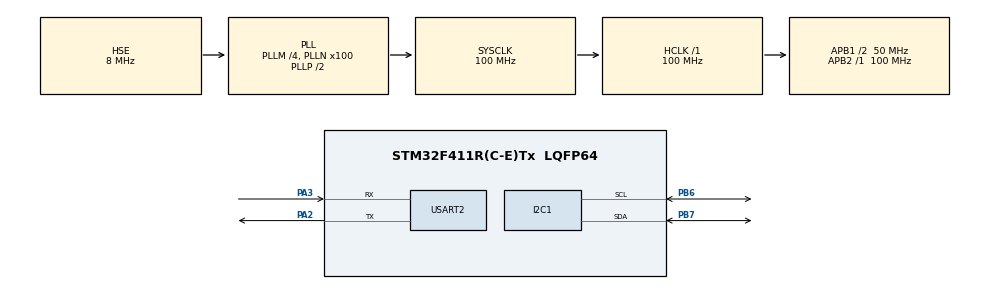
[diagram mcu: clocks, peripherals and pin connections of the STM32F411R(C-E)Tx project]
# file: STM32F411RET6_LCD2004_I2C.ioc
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Mcu.Family=STM32F4
Mcu.Name=STM32F411R(C-E)Tx
Mcu.Package=LQFP64
NVIC.I2C1_ER_IRQn=true\:0\:0\:false\:false\:true\:true\:true\:true
NVIC.I2C1_EV_IRQn=true\:0\:0\:false\:false\:true\:true\:true\:true
NVIC.PriorityGroup=NVIC_PRIORITYGROUP_4
NVIC.USART2_IRQn=true\:0\:0\:false\:false\:true\:true\:true\:true
PA2.Mode=Asynchronous
PA2.Signal=USART2_TX
PA3.Mode=Asynchronous
PA3.Signal=USART2_RX
PB6.Mode=I2C
PB6.Signal=I2C1_SCL
PB7.Mode=I2C
PB7.Signal=I2C1_SDA
PH0\ -\ OSC_IN.Mode=HSE-External-Oscillator
PH0\ -\ OSC_IN.Signal=RCC_OSC_IN
PH1\ -\ OSC_OUT.Mode=HSE-External-Oscillator
PH1\ -\ OSC_OUT.Signal=RCC_OSC_OUT
ProjectManager.HeapSize=0x200
ProjectManager.StackSize=0x400
ProjectManager.TargetToolchain=STM32CubeIDE
RCC.48MHZClocksFreq_Value=50000000
RCC.AHBFreq_Value=100000000
RCC.APB1CLKDivider=RCC_HCLK_DIV2
RCC.APB1Freq_Value=50000000
RCC.APB1TimFreq_Value=100000000
RCC.APB2Freq_Value=100000000
RCC.APB2TimFreq_Value=100000000
RCC.CortexFreq_Value=100000000
RCC.HCLKFreq_Value=100000000
RCC.HSE_VALUE=8000000
RCC.HSI_VALUE=16000000
RCC.LSE_VALUE=32768
RCC.PLLM=4
RCC.PLLN=100
RCC.PLLSourceVirtual=RCC_PLLSOURCE_HSE
RCC.SYSCLKFreq_VALUE=100000000
RCC.SYSCLKSource=RCC_SYSCLKSOURCE_PLLCLK
RCC.VCOOutputFreq_Value=200000000
USART2.VirtualMode=VM_ASYNC
board=custom

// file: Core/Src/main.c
/* USER CODE BEGIN Header */
/**
 ******************************************************************************
 * @file           : main.c
 * @brief          : Main program body
 ******************************************************************************
 * @attention
 *
 * Copyright (c) 2024 STMicroelectronics.
 * All rights reserved.
 *
 * This software is licensed under terms that can be found in the LICENSE file
 * in the root directory of this software component.
 * If no LICENSE file comes with this software, it is provided AS-IS.
 *
 ******************************************************************************
 */
/* USER CODE END Header */
#include "main.h"

/* USER CODE BEGIN Includes */
#define PLATFORM_STM32_HAL
#include <display/LCD1602.h>
#include <xuart.h>
#include <i2cscanner.h>
/* USER CODE END Includes */

I2C_HandleTypeDef hi2c1;

UART_HandleTypeDef huart2;

/* USER CODE BEGIN PV */
I2CPollingModeMaster i2c(&hi2c1);
UARTLogger logger(&huart2);
/* USER CODE END PV */

void SystemClock_Config(void);
static void MX_GPIO_Init(void);
static void MX_I2C1_Init(void);
static void MX_USART2_UART_Init(void);

int main(void)
{

    /* MCU Configuration--------------------------------------------------------*/

    /* Reset of all peripherals, Initializes the Flash interface and the Systick. */
    HAL_Init();

    /* Configure the system clock */
    SystemClock_Config();

    /* Initialize all configured peripherals */
    MX_GPIO_Init();
    MX_I2C1_Init();
    MX_USART2_UART_Init();
    /* USER CODE BEGIN 2 */
    uint8_t ic = I2CScanner::enumerate(&hi2c1, [](auto addr) {
        logger.writeLine("I2C device found at address %#2X", addr);
    });
    logger.writeLine("%d I2C devices found", ic);
    LCD2004 lcd(&i2c, 0x27, 20, 4);
    lcd.init();
    lcd.backlight(true);
    //lcd.blink(true);
    //lcd.cursor(true);
    lcd.clear();
    lcd.setCursor(1, 5);
    lcd.print("Hello World!");
    Delay::wait(1000);
    /* USER CODE END 2 */

    /* Infinite loop */
    while (1) {

        /* USER CODE BEGIN 3 */
        uint8_t ic = I2CScanner::enumerate(&hi2c1, [&](auto addr) {
            char buf[80];
            sprintf(buf, "I2C device at 0x%2X", addr);
            lcd.setCursor(0, 0);
            lcd.print(buf);
            logger.writeLine(buf);
        });
        logger.writeLine("%d I2C devices found", ic);
        HAL_Delay(1000);
        lcd.clear();
    }
    /* USER CODE END 3 */
}

void SystemClock_Config(void)
{
    RCC_OscInitTypeDef RCC_OscInitStruct = { 0 };
    RCC_ClkInitTypeDef RCC_ClkInitStruct = { 0 };

    /** Configure the main internal regulator output voltage
     */
    __HAL_RCC_PWR_CLK_ENABLE();
    __HAL_PWR_VOLTAGESCALING_CONFIG(PWR_REGULATOR_VOLTAGE_SCALE1);

    /** Initializes the RCC Oscillators according to the specified parameters
     * in the RCC_OscInitTypeDef structure.
     */
    RCC_OscInitStruct.OscillatorType = RCC_OSCILLATORTYPE_HSE;
    RCC_OscInitStruct.HSEState = RCC_HSE_ON;
    RCC_OscInitStruct.PLL.PLLState = RCC_PLL_ON;
    RCC_OscInitStruct.PLL.PLLSource = RCC_PLLSOURCE_HSE;
    RCC_OscInitStruct.PLL.PLLM = 4;
    RCC_OscInitStruct.PLL.PLLN = 100;
    RCC_OscInitStruct.PLL.PLLP = RCC_PLLP_DIV2;
    RCC_OscInitStruct.PLL.PLLQ = 4;
    if (HAL_RCC_OscConfig(&RCC_OscInitStruct) != HAL_OK) {
        Error_Handler();
    }

    /** Initializes the CPU, AHB and APB buses clocks
     */
    RCC_ClkInitStruct.ClockType = RCC_CLOCKTYPE_HCLK | RCC_CLOCKTYPE_SYSCLK
            | RCC_CLOCKTYPE_PCLK1 | RCC_CLOCKTYPE_PCLK2;
    RCC_ClkInitStruct.SYSCLKSource = RCC_SYSCLKSOURCE_PLLCLK;
    RCC_ClkInitStruct.AHBCLKDivider = RCC_SYSCLK_DIV1;
    RCC_ClkInitStruct.APB1CLKDivider = RCC_HCLK_DIV2;
    RCC_ClkInitStruct.APB2CLKDivider = RCC_HCLK_DIV1;

    if (HAL_RCC_ClockConfig(&RCC_ClkInitStruct, FLASH_LATENCY_3) != HAL_OK) {
        Error_Handler();
    }
}

static void MX_I2C1_Init(void)
{

    hi2c1.Instance = I2C1;
    hi2c1.Init.ClockSpeed = 100000;
    hi2c1.Init.DutyCycle = I2C_DUTYCYCLE_2;
    hi2c1.Init.OwnAddress1 = 0;
    hi2c1.Init.AddressingMode = I2C_ADDRESSINGMODE_7BIT;
    hi2c1.Init.DualAddressMode = I2C_DUALADDRESS_DISABLE;
    hi2c1.Init.OwnAddress2 = 0;
    hi2c1.Init.GeneralCallMode = I2C_GENERALCALL_DISABLE;
    hi2c1.Init.NoStretchMode = I2C_NOSTRETCH_DISABLE;
    if (HAL_I2C_Init(&hi2c1) != HAL_OK) {
        Error_Handler();
    }

}

static void MX_USART2_UART_Init(void)
{

    huart2.Instance = USART2;
    huart2.Init.BaudRate = 115200;
    huart2.Init.WordLength = UART_WORDLENGTH_8B;
    huart2.Init.StopBits = UART_STOPBITS_1;
    huart2.Init.Parity = UART_PARITY_NONE;
    huart2.Init.Mode = UART_MODE_TX_RX;
    huart2.Init.HwFlowCtl = UART_HWCONTROL_NONE;
    huart2.Init.OverSampling = UART_OVERSAMPLING_16;
    if (HAL_UART_Init(&huart2) != HAL_OK) {
        Error_Handler();
    }

}

static void MX_GPIO_Init(void)
{

    /* GPIO Ports Clock Enable */
    __HAL_RCC_GPIOH_CLK_ENABLE();
    __HAL_RCC_GPIOA_CLK_ENABLE();
    __HAL_RCC_GPIOB_CLK_ENABLE();

}

void Error_Handler(void)
{
    __disable_irq();
    while (1) {
    }
}
